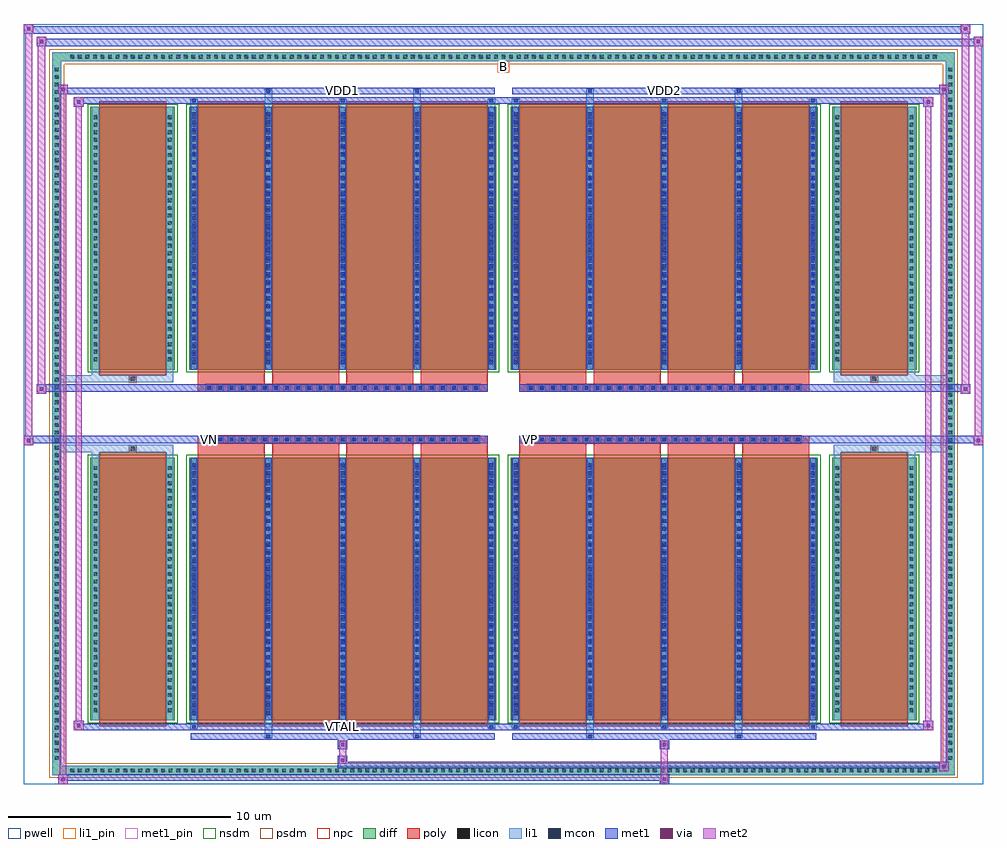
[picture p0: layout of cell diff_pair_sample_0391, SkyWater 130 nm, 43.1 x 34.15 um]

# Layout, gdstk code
import gdstk
lib = gdstk.Library(unit=1e-6, precision=5e-09)
def R(c, l, rs):  # rectangles x0, y0, x1, y1
    for r in rs: c.add(gdstk.rectangle(r[:2], r[2:], *l))
def A(c, l, x, y, w, h, nx, ny, dx, dy):  # array of equal rectangles
    R(c, l, [(x+i*dx, y+j*dy, x+i*dx+w, y+j*dy+h) for i in range(nx) for j in range(ny)])
def P(c, l, *ps):  # polygons
    for p in ps: c.add(gdstk.Polygon(p, *l))
pwell = (64, 44)
diff = (65, 20)
poly = (66, 20)
licon = (66, 44)
li1_pin = (67, 16)
li1 = (67, 20)
mcon = (67, 44)
met1_pin = (68, 16)
met1 = (68, 20)
via = (68, 44)
met2 = (69, 20)
nsdm = (93, 44)
psdm = (94, 20)
npc = (95, 20)

diff_pair_sample_0391 = lib.new_cell('diff_pair_sample_0391')
R(diff_pair_sample_0391, pwell, [(-21.55,-16.64,21.55,17.51), (-18.87,-14.83,-0.01,-0.795), (0.01,-14.83,18.87,-0.795), (-18.87,0.795,-0.01,14.83), (0.01,0.795,18.87,14.83)])
A(diff_pair_sample_0391, diff, -19.585, -16.24, 0.41, 0.41, 115, 2, 0.34, 32.07)
A(diff_pair_sample_0391, diff, -20.28, -15.675, 0.41, 0.41, 1, 92, 0, 0.34)
A(diff_pair_sample_0391, diff, 19.87, -15.675, 0.41, 0.41, 1, 92, 0, 0.34)
R(diff_pair_sample_0391, diff, [(-19.585,-16.24,19.585,-15.83), (-20.28,-15.675,-19.87,15.675), (19.87,-15.675,20.28,15.675), (-18.56,-13.785,-14.77,-1.985), (-14.13,-13.785,-0.32,-1.985), (0.32,-13.785,14.13,-1.985), (14.77,-13.785,18.56,-1.985), (-18.56,1.985,-14.77,13.785), (-14.13,1.985,-0.32,13.785), (0.32,1.985,14.13,13.785), (14.77,1.985,18.56,13.785), (-19.585,15.83,19.585,16.24)])
P(diff_pair_sample_0391, diff, [(20.28,16.24),(-20.28,16.24),(-20.28,-15.83),(-19.87,-15.83),(-19.87,15.83),(19.87,15.83),(19.87,-15.83),(-19.87,-15.83),(-20.28,-15.83),(-20.28,-16.24),(20.28,-16.24)])
A(diff_pair_sample_0391, poly, -13.74, -14.035, 3.01, 12.3, 4, 2, 3.34, 15.77)
A(diff_pair_sample_0391, poly, 0.71, -14.035, 3.01, 12.3, 4, 2, 3.34, 15.77)
A(diff_pair_sample_0391, poly, -13.74, -1.735, 3.01, 0.41, 4, 2, 3.34, 3.06)
A(diff_pair_sample_0391, poly, 0.71, -1.735, 3.01, 0.41, 4, 2, 3.34, 3.06)
A(diff_pair_sample_0391, poly, -13.39, -1.325, 0.33, 0.33, 25, 2, 0.5, 2.32)
A(diff_pair_sample_0391, poly, 1.06, -1.325, 0.33, 0.33, 25, 2, 0.5, 2.32)
R(diff_pair_sample_0391, poly, [(-18.17,-14.035,-15.16,-1.735), (15.16,-14.035,18.17,-1.735), (-16.83,-1.735,-16.5,-1.405), (-16.83,-1.735,-16.5,-1.405), (16.5,-1.735,16.83,-1.405), (16.5,-1.735,16.83,-1.405), (-13.74,-1.325,-0.71,-0.995), (0.71,-1.325,13.74,-0.995), (-13.74,0.995,-0.71,1.325), (0.71,0.995,13.74,1.325), (-16.83,1.405,-16.5,1.735), (-16.83,1.405,-16.5,1.735), (16.5,1.405,16.83,1.735), (16.5,1.405,16.83,1.735), (-18.17,1.735,-15.16,14.035), (15.16,1.735,18.17,14.035)])
A(diff_pair_sample_0391, licon, -19.465, -16.12, 0.17, 0.17, 115, 2, 0.34, 32.07)
A(diff_pair_sample_0391, licon, -20.16, -15.555, 0.17, 0.17, 1, 92, 0, 0.34)
A(diff_pair_sample_0391, licon, 19.99, -15.555, 0.17, 0.17, 1, 92, 0, 0.34)
A(diff_pair_sample_0391, licon, -18.42, -13.41, 0.17, 0.17, 1, 33, 0, 0.34)
A(diff_pair_sample_0391, licon, -15.08, -13.41, 0.17, 0.17, 1, 33, 0, 0.34)
A(diff_pair_sample_0391, licon, -13.99, -13.41, 0.17, 0.17, 5, 33, 3.34, 0.34)
A(diff_pair_sample_0391, licon, 0.46, -13.41, 0.17, 0.17, 5, 33, 3.34, 0.34)
A(diff_pair_sample_0391, licon, 14.91, -13.41, 0.17, 0.17, 1, 33, 0, 0.34)
A(diff_pair_sample_0391, licon, 18.25, -13.41, 0.17, 0.17, 1, 33, 0, 0.34)
A(diff_pair_sample_0391, licon, -13.31, -1.245, 0.17, 0.17, 25, 2, 0.5, 2.32)
A(diff_pair_sample_0391, licon, 1.14, -1.245, 0.17, 0.17, 25, 2, 0.5, 2.32)
A(diff_pair_sample_0391, licon, -18.42, 2.36, 0.17, 0.17, 1, 33, 0, 0.34)
A(diff_pair_sample_0391, licon, -15.08, 2.36, 0.17, 0.17, 1, 33, 0, 0.34)
A(diff_pair_sample_0391, licon, -13.99, 2.36, 0.17, 0.17, 5, 33, 3.34, 0.34)
A(diff_pair_sample_0391, licon, 0.46, 2.36, 0.17, 0.17, 5, 33, 3.34, 0.34)
A(diff_pair_sample_0391, licon, 14.91, 2.36, 0.17, 0.17, 1, 33, 0, 0.34)
A(diff_pair_sample_0391, licon, 18.25, 2.36, 0.17, 0.17, 1, 33, 0, 0.34)
R(diff_pair_sample_0391, licon, [(-16.75,-1.655,-16.58,-1.485), (16.58,-1.655,16.75,-1.485), (-16.75,1.485,-16.58,1.655), (16.58,1.485,16.75,1.655)])
R(diff_pair_sample_0391, li1_pin, [(-0.25,15.33,0.25,15.83)])
A(diff_pair_sample_0391, li1, -19.545, -16.2, 0.33, 0.33, 115, 2, 0.34, 32.07)
A(diff_pair_sample_0391, li1, -20.24, -15.635, 0.33, 0.33, 1, 92, 0, 0.34)
A(diff_pair_sample_0391, li1, 19.91, -15.635, 0.33, 0.33, 1, 92, 0, 0.34)
A(diff_pair_sample_0391, li1, -14.07, -14.16, 0.33, 0.375, 3, 2, 6.68, 27.945)
A(diff_pair_sample_0391, li1, -13.99, -14.16, 0.17, 0.17, 3, 2, 6.68, 28.15)
A(diff_pair_sample_0391, li1, 0.38, -14.16, 0.33, 0.375, 3, 2, 6.68, 27.945)
A(diff_pair_sample_0391, li1, 0.46, -14.16, 0.17, 0.17, 3, 2, 6.68, 28.15)
A(diff_pair_sample_0391, li1, -14.07, -13.785, 0.33, 11.8, 5, 2, 3.34, 15.77)
A(diff_pair_sample_0391, li1, 0.38, -13.785, 0.33, 11.8, 5, 2, 3.34, 15.77)
A(diff_pair_sample_0391, li1, -13.99, -13.55, 0.17, 0.17, 5, 32, 3.34, 0.36)
A(diff_pair_sample_0391, li1, -13.99, -13.55, 0.17, 11.33, 5, 2, 3.34, 15.77)
A(diff_pair_sample_0391, li1, 0.46, -13.55, 0.17, 0.17, 5, 32, 3.34, 0.36)
A(diff_pair_sample_0391, li1, 0.46, -13.55, 0.17, 11.33, 5, 2, 3.34, 15.77)
A(diff_pair_sample_0391, li1, -18.5, -13.49, 0.33, 0.33, 1, 33, 0, 0.34)
A(diff_pair_sample_0391, li1, -15.16, -13.49, 0.33, 0.33, 1, 33, 0, 0.34)
A(diff_pair_sample_0391, li1, -14.07, -13.49, 0.33, 0.33, 5, 33, 3.34, 0.34)
A(diff_pair_sample_0391, li1, 0.38, -13.49, 0.33, 0.33, 5, 33, 3.34, 0.34)
A(diff_pair_sample_0391, li1, 14.83, -13.49, 0.33, 0.33, 1, 33, 0, 0.34)
A(diff_pair_sample_0391, li1, 18.17, -13.49, 0.33, 0.33, 1, 33, 0, 0.34)
A(diff_pair_sample_0391, li1, -13.39, -1.325, 0.33, 0.33, 25, 2, 0.5, 2.32)
A(diff_pair_sample_0391, li1, 1.06, -1.325, 0.33, 0.33, 25, 2, 0.5, 2.32)
A(diff_pair_sample_0391, li1, -13.99, 2.22, 0.17, 0.17, 5, 32, 3.34, 0.36)
A(diff_pair_sample_0391, li1, 0.46, 2.22, 0.17, 0.17, 5, 32, 3.34, 0.36)
A(diff_pair_sample_0391, li1, -18.5, 2.28, 0.33, 0.33, 1, 33, 0, 0.34)
A(diff_pair_sample_0391, li1, -15.16, 2.28, 0.33, 0.33, 1, 33, 0, 0.34)
A(diff_pair_sample_0391, li1, -14.07, 2.28, 0.33, 0.33, 5, 33, 3.34, 0.34)
A(diff_pair_sample_0391, li1, 0.38, 2.28, 0.33, 0.33, 5, 33, 3.34, 0.34)
A(diff_pair_sample_0391, li1, 14.83, 2.28, 0.33, 0.33, 1, 33, 0, 0.34)
A(diff_pair_sample_0391, li1, 18.17, 2.28, 0.33, 0.33, 1, 33, 0, 0.34)
R(diff_pair_sample_0391, li1, [(-20.28,-16.24,-19.87,-15.83), (-20.28,-16.24,-19.87,-15.83), (-19.87,-16.24,19.87,-15.83), (19.87,-16.24,20.28,-15.83), (19.87,-16.24,20.28,-15.83), (-20.28,-15.83,-19.87,15.83), (19.87,-15.83,20.28,15.83), (-10.73,-14.59,-10.4,-13.785), (-10.65,-14.59,-10.48,-14.42), (-4.05,-14.59,-3.72,-13.785), (-3.97,-14.59,-3.8,-14.42), (3.72,-14.59,4.05,-13.785), (3.8,-14.59,3.97,-14.42), (10.4,-14.59,10.73,-13.785), (10.48,-14.59,10.65,-14.42), (-18.5,-13.785,-18.17,-1.985), (-15.16,-13.785,-14.83,-1.985), (14.83,-13.785,15.16,-1.985), (18.17,-13.785,18.5,-1.985), (-18.5,-1.985,-18.17,-1.405), (-15.16,-1.985,-14.83,-1.405), (14.83,-1.985,15.16,-1.405), (18.17,-1.985,18.5,-1.405), (-20.28,-1.735,-16.83,-1.405), (-18.5,-1.735,-16.83,-1.405), (-16.83,-1.735,-16.5,-1.405), (-16.5,-1.735,-14.83,-1.405), (14.83,-1.735,16.5,-1.405), (16.5,-1.735,16.83,-1.405), (16.5,-1.735,20.28,-1.405), (16.83,-1.735,18.5,-1.405), (-20.28,1.405,-16.83,1.735), (-18.5,1.405,-16.83,1.735), (-18.5,1.405,-18.17,1.985), (-16.83,1.405,-16.5,1.735), (-16.5,1.405,-14.83,1.735), (-15.16,1.405,-14.83,1.985), (14.83,1.405,16.5,1.735), (14.83,1.405,15.16,1.985), (16.5,1.405,16.83,1.735), (16.5,1.405,20.28,1.735), (16.83,1.405,18.5,1.735), (18.17,1.405,18.5,1.985), (-18.5,1.985,-18.17,13.785), (-15.16,1.985,-14.83,13.785), (14.83,1.985,15.16,13.785), (18.17,1.985,18.5,13.785), (-10.73,13.785,-10.4,14.59), (-4.05,13.785,-3.72,14.59), (3.72,13.785,4.05,14.59), (10.4,13.785,10.73,14.59), (-10.65,14.42,-10.48,14.59), (-3.97,14.42,-3.8,14.59), (3.8,14.42,3.97,14.59), (10.48,14.42,10.65,14.59), (-20.28,15.83,-19.87,16.24), (-20.28,15.83,-19.87,16.24), (-19.87,15.83,19.87,16.24), (19.87,15.83,20.28,16.24), (19.87,15.83,20.28,16.24)])
A(diff_pair_sample_0391, mcon, -13.99, -14.16, 0.17, 0.17, 3, 2, 6.68, 28.15)
A(diff_pair_sample_0391, mcon, 0.46, -14.16, 0.17, 0.17, 3, 2, 6.68, 28.15)
A(diff_pair_sample_0391, mcon, -13.99, -13.55, 0.17, 0.17, 5, 32, 3.34, 0.36)
A(diff_pair_sample_0391, mcon, 0.46, -13.55, 0.17, 0.17, 5, 32, 3.34, 0.36)
A(diff_pair_sample_0391, mcon, -13.31, -1.245, 0.17, 0.17, 25, 2, 0.5, 2.32)
A(diff_pair_sample_0391, mcon, 1.14, -1.245, 0.17, 0.17, 25, 2, 0.5, 2.32)
A(diff_pair_sample_0391, mcon, -13.99, 2.22, 0.17, 0.17, 5, 32, 3.34, 0.36)
A(diff_pair_sample_0391, mcon, 0.46, 2.22, 0.17, 0.17, 5, 32, 3.34, 0.36)
R(diff_pair_sample_0391, mcon, [(-10.65,-14.59,-10.48,-14.42), (-3.97,-14.59,-3.8,-14.42), (3.8,-14.59,3.97,-14.42), (10.48,-14.59,10.65,-14.42), (-10.65,14.42,-10.48,14.59), (-3.97,14.42,-3.8,14.59), (3.8,14.42,3.97,14.59), (10.48,14.42,10.65,14.59)])
R(diff_pair_sample_0391, met1_pin, [(-7.36,-14.2,-7.09,-13.93), (-13.36,-1.285,-13.09,-1.015), (1.09,-1.285,1.36,-1.015), (-7.36,14.38,-7.09,14.65), (7.09,14.38,7.36,14.65)])
A(diff_pair_sample_0391, met1, -14.05, -14.22, 0.29, 0.29, 3, 2, 6.68, 28.15)
A(diff_pair_sample_0391, met1, 0.4, -14.22, 0.29, 0.29, 3, 2, 6.68, 28.15)
A(diff_pair_sample_0391, met1, -14.05, -13.785, 0.29, 11.8, 5, 2, 3.34, 15.77)
A(diff_pair_sample_0391, met1, 0.4, -13.785, 0.29, 11.8, 5, 2, 3.34, 15.77)
A(diff_pair_sample_0391, met1, -14.05, -13.61, 0.29, 0.29, 5, 32, 3.34, 0.36)
A(diff_pair_sample_0391, met1, 0.4, -13.61, 0.29, 0.29, 5, 32, 3.34, 0.36)
A(diff_pair_sample_0391, met1, -13.37, -1.305, 0.29, 0.29, 25, 2, 0.5, 2.32)
A(diff_pair_sample_0391, met1, 1.08, -1.305, 0.29, 0.29, 25, 2, 0.5, 2.32)
A(diff_pair_sample_0391, met1, -14.05, 2.16, 0.29, 0.29, 5, 32, 3.34, 0.36)
A(diff_pair_sample_0391, met1, 0.4, 2.16, 0.29, 0.29, 5, 32, 3.34, 0.36)
R(diff_pair_sample_0391, met1, [(-20.01,-16.64,-19.58,-16.21), (7.01,-16.64,7.44,-16.21), (-20.01,-16.5,7.44,-16.21), (19.58,-16.07,20.01,-15.64), (-7.44,-15.93,20.01,-15.64), (-7.44,-15.79,-7.01,-15.36), (-7.44,-15.08,-7.01,-14.65), (7.01,-15.08,7.44,-14.65), (-14.05,-14.65,-0.4,-14.36), (-10.71,-14.65,-10.42,-14.36), (-4.03,-14.65,-3.74,-14.36), (0.4,-14.65,14.05,-14.36), (3.74,-14.65,4.03,-14.36), (10.42,-14.65,10.71,-14.36), (-19.3,-14.22,-18.87,-13.79), (-19.3,-14.22,-14.05,-13.93), (-14.05,-14.22,-0.4,-13.93), (-0.4,-14.22,0.4,-13.93), (0.4,-14.22,14.05,-13.93), (14.05,-14.22,19.3,-13.93), (18.87,-14.22,19.3,-13.79), (-21.55,-1.425,-21.12,-0.995), (21.12,-1.425,21.55,-0.995), (-21.55,-1.325,-0.71,-0.995), (-13.74,-1.325,-0.71,-0.995), (0.71,-1.325,13.74,-0.995), (0.71,-1.325,21.55,-0.995), (-20.98,0.895,-20.55,1.325), (20.55,0.895,20.98,1.325), (-20.98,0.995,-13.74,1.325), (-13.74,0.995,-0.71,1.325), (0.71,0.995,13.74,1.325), (13.74,0.995,20.98,1.325), (-19.3,13.79,-18.87,14.22), (18.87,13.79,19.3,14.22), (-19.3,13.93,-14.05,14.22), (-14.05,13.93,-0.4,14.22), (-0.4,13.93,0.4,14.22), (0.4,13.93,14.05,14.22), (14.05,13.93,19.3,14.22), (-20.01,14.36,-19.58,14.79), (-20.01,14.36,-14.05,14.65), (-14.05,14.36,-0.4,14.65), (-10.71,14.36,-10.42,14.65), (-4.03,14.36,-3.74,14.65), (0.4,14.36,14.05,14.65), (3.74,14.36,4.03,14.65), (10.42,14.36,10.71,14.65), (14.05,14.36,20.01,14.65), (19.58,14.36,20.01,14.79), (-20.98,16.51,-20.55,16.94), (-20.98,16.51,-18.87,16.84), (-18.87,16.51,18.87,16.84), (18.87,16.51,21.55,16.84), (21.12,16.51,21.55,16.94), (-21.55,17.08,-21.12,17.51), (-21.55,17.08,-18.87,17.41), (-18.87,17.08,18.87,17.41), (18.87,17.08,20.98,17.41), (20.55,17.08,20.98,17.51)])
R(diff_pair_sample_0391, via, [(-19.87,-16.5,-19.72,-16.35), (7.15,-16.5,7.3,-16.35), (19.72,-15.93,19.87,-15.78), (-7.3,-15.65,-7.15,-15.5), (-7.3,-14.94,-7.15,-14.79), (7.15,-14.94,7.3,-14.79), (-19.16,-14.08,-19.01,-13.93), (19.01,-14.08,19.16,-13.93), (-21.41,-1.285,-21.26,-1.135), (21.26,-1.285,21.41,-1.135), (-20.84,1.035,-20.69,1.185), (20.69,1.035,20.84,1.185), (-19.16,13.93,-19.01,14.08), (19.01,13.93,19.16,14.08), (-19.87,14.5,-19.72,14.65), (19.72,14.5,19.87,14.65), (-20.84,16.65,-20.69,16.8), (21.26,16.65,21.41,16.8), (-21.41,17.22,-21.26,17.37), (20.69,17.22,20.84,17.37)])
R(diff_pair_sample_0391, met2, [(-20.01,-16.64,-19.58,-16.21), (-19.94,-16.64,-19.65,14.79), (-19.65,-16.64,-19.58,-16.21), (-19.96,-16.59,-19.63,-16.26), (7.06,-16.59,7.39,-16.26), (7.06,-16.26,7.39,-15.03), (19.58,-16.07,20.01,-15.64), (19.65,-16.07,19.94,14.79), (19.94,-16.07,20.01,-15.64), (19.63,-16.02,19.96,-15.69), (-7.39,-15.74,-7.06,-15.41), (-7.39,-15.41,-7.06,-15.03), (-7.39,-15.03,-7.06,-14.7), (7.06,-15.03,7.39,-14.7), (-19.3,-14.22,-18.87,-13.79), (-19.23,-14.22,-18.94,14.22), (-18.94,-14.22,-18.87,-13.79), (18.87,-14.22,19.3,-13.79), (18.94,-14.22,19.23,14.22), (19.23,-14.22,19.3,-13.79), (-19.25,-14.17,-18.92,-13.84), (18.92,-14.17,19.25,-13.84), (-21.55,-1.425,-21.12,-0.995), (-21.5,-1.425,-21.17,17.51), (-21.17,-1.425,-21.12,-0.995), (21.12,-1.425,21.55,-0.995), (21.17,-1.425,21.5,16.94), (21.5,-1.425,21.55,-0.995), (-21.5,-1.375,-21.17,-1.045), (21.17,-1.375,21.5,-1.045), (-20.98,0.895,-20.55,1.325), (-20.93,0.895,-20.6,16.94), (-20.6,0.895,-20.55,1.325), (20.55,0.895,20.98,1.325), (20.6,0.895,20.93,17.51), (20.93,0.895,20.98,1.325), (-20.93,0.945,-20.6,1.275), (20.6,0.945,20.93,1.275), (-19.3,13.79,-18.87,14.22), (-18.94,13.79,-18.87,14.22), (18.87,13.79,19.3,14.22), (19.23,13.79,19.3,14.22), (-19.25,13.84,-18.92,14.17), (18.92,13.84,19.25,14.17), (-20.01,14.36,-19.58,14.79), (-19.65,14.36,-19.58,14.79), (19.58,14.36,20.01,14.79), (19.94,14.36,20.01,14.79), (-19.96,14.41,-19.63,14.74), (19.63,14.41,19.96,14.74), (-20.98,16.51,-20.55,16.94), (-20.6,16.51,-20.55,16.94), (21.12,16.51,21.55,16.94), (21.5,16.51,21.55,16.94), (-20.93,16.56,-20.6,16.89), (21.17,16.56,21.5,16.89), (-21.55,17.08,-21.12,17.51), (-21.17,17.08,-21.12,17.51), (20.55,17.08,20.98,17.51), (20.93,17.08,20.98,17.51), (-21.5,17.13,-21.17,17.46), (20.6,17.13,20.93,17.46)])
R(diff_pair_sample_0391, nsdm, [(-18.69,-13.915,-14.64,-1.855), (-14.26,-13.915,-0.19,-1.855), (0.19,-13.915,14.26,-1.855), (14.64,-13.915,18.69,-1.855), (-18.69,1.855,-14.64,13.915), (-14.26,1.855,-0.19,13.915), (0.19,1.855,14.26,13.915), (14.64,1.855,18.69,13.915)])
P(diff_pair_sample_0391, psdm, [(20.41,16.37),(-20.41,16.37),(-20.41,-15.7),(-19.74,-15.7),(-19.74,15.7),(19.74,15.7),(19.74,-15.7),(-19.74,-15.7),(-20.41,-15.7),(-20.41,-16.37),(20.41,-16.37)])
A(diff_pair_sample_0391, npc, -13.41, -1.345, 0.37, 0.37, 25, 2, 0.5, 2.32)
A(diff_pair_sample_0391, npc, 1.04, -1.345, 0.37, 0.37, 25, 2, 0.5, 2.32)
R(diff_pair_sample_0391, npc, [(-16.85,-1.755,-16.48,-1.385), (16.48,-1.755,16.85,-1.385), (-13.41,-1.345,-12.54,-0.975), (-13.41,-1.345,-12.54,-0.975), (-12.91,-1.345,-12.04,-0.975), (-12.91,-1.345,-12.04,-0.975), (-12.41,-1.345,-11.54,-0.975), (-12.41,-1.345,-11.54,-0.975), (-11.91,-1.345,-11.04,-0.975), (-11.91,-1.345,-11.04,-0.975), (-11.41,-1.345,-10.54,-0.975), (-11.41,-1.345,-10.54,-0.975), (-10.91,-1.345,-10.04,-0.975), (-10.91,-1.345,-10.04,-0.975), (-10.41,-1.345,-9.54,-0.975), (-10.41,-1.345,-9.54,-0.975), (-9.91,-1.345,-9.04,-0.975), (-9.91,-1.345,-9.04,-0.975), (-9.41,-1.345,-8.54,-0.975), (-9.41,-1.345,-8.54,-0.975), (-8.91,-1.345,-8.04,-0.975), (-8.91,-1.345,-8.04,-0.975), (-8.41,-1.345,-7.54,-0.975), (-8.41,-1.345,-7.54,-0.975), (-7.91,-1.345,-7.04,-0.975), (-7.91,-1.345,-7.04,-0.975), (-7.41,-1.345,-6.54,-0.975), (-7.41,-1.345,-6.54,-0.975), (-6.91,-1.345,-6.04,-0.975), (-6.91,-1.345,-6.04,-0.975), (-6.41,-1.345,-5.54,-0.975), (-6.41,-1.345,-5.54,-0.975), (-5.91,-1.345,-5.04,-0.975), (-5.91,-1.345,-5.04,-0.975), (-5.41,-1.345,-4.54,-0.975), (-5.41,-1.345,-4.54,-0.975), (-4.91,-1.345,-4.04,-0.975), (-4.91,-1.345,-4.04,-0.975), (-4.41,-1.345,-3.54,-0.975), (-4.41,-1.345,-3.54,-0.975), (-3.91,-1.345,-3.04,-0.975), (-3.91,-1.345,-3.04,-0.975), (-3.41,-1.345,-2.54,-0.975), (-3.41,-1.345,-2.54,-0.975), (-2.91,-1.345,-2.04,-0.975), (-2.91,-1.345,-2.04,-0.975), (-2.41,-1.345,-1.54,-0.975), (-2.41,-1.345,-1.54,-0.975), (-1.91,-1.345,-1.04,-0.975), (-1.91,-1.345,-1.04,-0.975), (1.04,-1.345,1.91,-0.975), (1.04,-1.345,1.91,-0.975), (1.54,-1.345,2.41,-0.975), (1.54,-1.345,2.41,-0.975), (2.04,-1.345,2.91,-0.975), (2.04,-1.345,2.91,-0.975), (2.54,-1.345,3.41,-0.975), (2.54,-1.345,3.41,-0.975), (3.04,-1.345,3.91,-0.975), (3.04,-1.345,3.91,-0.975), (3.54,-1.345,4.41,-0.975), (3.54,-1.345,4.41,-0.975), (4.04,-1.345,4.91,-0.975), (4.04,-1.345,4.91,-0.975), (4.54,-1.345,5.41,-0.975), (4.54,-1.345,5.41,-0.975), (5.04,-1.345,5.91,-0.975), (5.04,-1.345,5.91,-0.975), (5.54,-1.345,6.41,-0.975), (5.54,-1.345,6.41,-0.975), (6.04,-1.345,6.91,-0.975), (6.04,-1.345,6.91,-0.975), (6.54,-1.345,7.41,-0.975), (6.54,-1.345,7.41,-0.975), (7.04,-1.345,7.91,-0.975), (7.04,-1.345,7.91,-0.975), (7.54,-1.345,8.41,-0.975), (7.54,-1.345,8.41,-0.975), (8.04,-1.345,8.91,-0.975), (8.04,-1.345,8.91,-0.975), (8.54,-1.345,9.41,-0.975), (8.54,-1.345,9.41,-0.975), (9.04,-1.345,9.91,-0.975), (9.04,-1.345,9.91,-0.975), (9.54,-1.345,10.41,-0.975), (9.54,-1.345,10.41,-0.975), (10.04,-1.345,10.91,-0.975), (10.04,-1.345,10.91,-0.975), (10.54,-1.345,11.41,-0.975), (10.54,-1.345,11.41,-0.975), (11.04,-1.345,11.91,-0.975), (11.04,-1.345,11.91,-0.975), (11.54,-1.345,12.41,-0.975), (11.54,-1.345,12.41,-0.975), (12.04,-1.345,12.91,-0.975), (12.04,-1.345,12.91,-0.975), (12.54,-1.345,13.41,-0.975), (12.54,-1.345,13.41,-0.975), (-13.41,0.975,-12.54,1.345), (-13.41,0.975,-12.54,1.345), (-12.91,0.975,-12.04,1.345), (-12.91,0.975,-12.04,1.345), (-12.41,0.975,-11.54,1.345), (-12.41,0.975,-11.54,1.345), (-11.91,0.975,-11.04,1.345), (-11.91,0.975,-11.04,1.345), (-11.41,0.975,-10.54,1.345), (-11.41,0.975,-10.54,1.345), (-10.91,0.975,-10.04,1.345), (-10.91,0.975,-10.04,1.345), (-10.41,0.975,-9.54,1.345), (-10.41,0.975,-9.54,1.345), (-9.91,0.975,-9.04,1.345), (-9.91,0.975,-9.04,1.345), (-9.41,0.975,-8.54,1.345), (-9.41,0.975,-8.54,1.345), (-8.91,0.975,-8.04,1.345), (-8.91,0.975,-8.04,1.345), (-8.41,0.975,-7.54,1.345), (-8.41,0.975,-7.54,1.345), (-7.91,0.975,-7.04,1.345), (-7.91,0.975,-7.04,1.345), (-7.41,0.975,-6.54,1.345), (-7.41,0.975,-6.54,1.345), (-6.91,0.975,-6.04,1.345), (-6.91,0.975,-6.04,1.345), (-6.41,0.975,-5.54,1.345), (-6.41,0.975,-5.54,1.345), (-5.91,0.975,-5.04,1.345), (-5.91,0.975,-5.04,1.345), (-5.41,0.975,-4.54,1.345), (-5.41,0.975,-4.54,1.345), (-4.91,0.975,-4.04,1.345), (-4.91,0.975,-4.04,1.345), (-4.41,0.975,-3.54,1.345), (-4.41,0.975,-3.54,1.345), (-3.91,0.975,-3.04,1.345), (-3.91,0.975,-3.04,1.345), (-3.41,0.975,-2.54,1.345), (-3.41,0.975,-2.54,1.345), (-2.91,0.975,-2.04,1.345), (-2.91,0.975,-2.04,1.345), (-2.41,0.975,-1.54,1.345), (-2.41,0.975,-1.54,1.345), (-1.91,0.975,-1.04,1.345), (-1.91,0.975,-1.04,1.345), (1.04,0.975,1.91,1.345), (1.04,0.975,1.91,1.345), (1.54,0.975,2.41,1.345), (1.54,0.975,2.41,1.345), (2.04,0.975,2.91,1.345), (2.04,0.975,2.91,1.345), (2.54,0.975,3.41,1.345), (2.54,0.975,3.41,1.345), (3.04,0.975,3.91,1.345), (3.04,0.975,3.91,1.345), (3.54,0.975,4.41,1.345), (3.54,0.975,4.41,1.345), (4.04,0.975,4.91,1.345), (4.04,0.975,4.91,1.345), (4.54,0.975,5.41,1.345), (4.54,0.975,5.41,1.345), (5.04,0.975,5.91,1.345), (5.04,0.975,5.91,1.345), (5.54,0.975,6.41,1.345), (5.54,0.975,6.41,1.345), (6.04,0.975,6.91,1.345), (6.04,0.975,6.91,1.345), (6.54,0.975,7.41,1.345), (6.54,0.975,7.41,1.345), (7.04,0.975,7.91,1.345), (7.04,0.975,7.91,1.345), (7.54,0.975,8.41,1.345), (7.54,0.975,8.41,1.345), (8.04,0.975,8.91,1.345), (8.04,0.975,8.91,1.345), (8.54,0.975,9.41,1.345), (8.54,0.975,9.41,1.345), (9.04,0.975,9.91,1.345), (9.04,0.975,9.91,1.345), (9.54,0.975,10.41,1.345), (9.54,0.975,10.41,1.345), (10.04,0.975,10.91,1.345), (10.04,0.975,10.91,1.345), (10.54,0.975,11.41,1.345), (10.54,0.975,11.41,1.345), (11.04,0.975,11.91,1.345), (11.04,0.975,11.91,1.345), (11.54,0.975,12.41,1.345), (11.54,0.975,12.41,1.345), (12.04,0.975,12.91,1.345), (12.04,0.975,12.91,1.345), (12.54,0.975,13.41,1.345), (12.54,0.975,13.41,1.345), (-16.85,1.385,-16.48,1.755), (16.48,1.385,16.85,1.755)])
diff_pair_sample_0391.add(gdstk.Label('VTAIL', (-7.225,-14.065), layer=68, texttype=5))
diff_pair_sample_0391.add(gdstk.Label('VN', (-13.225,-1.15), layer=68, texttype=5))
diff_pair_sample_0391.add(gdstk.Label('VP', (1.225,-1.15), layer=68, texttype=5))
diff_pair_sample_0391.add(gdstk.Label('B', (0,15.58), layer=67, texttype=5))
diff_pair_sample_0391.add(gdstk.Label('VDD2', (7.225,14.515), layer=68, texttype=5))
diff_pair_sample_0391.add(gdstk.Label('VDD1', (-7.225,14.515), layer=68, texttype=5))

lib.write_gds('diff_pair_sample_0391.gds')
